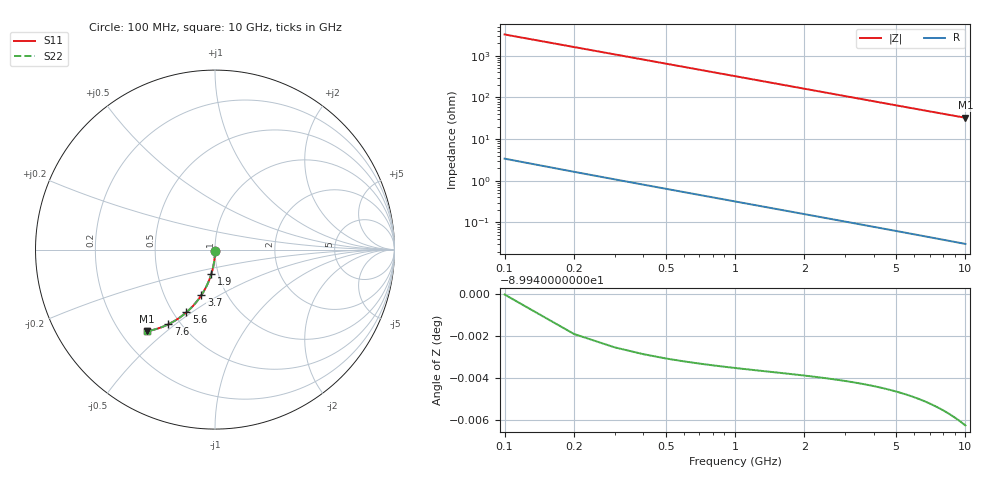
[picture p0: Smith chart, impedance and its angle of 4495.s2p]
# Hz S RI R 50.00
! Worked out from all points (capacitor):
!   100 points, 100 MHz to 10 GHz, reference 50 ohm
!   read as one part in shunt: C = 490 fF near 100 MHz
!   lowest |Z| = 32.6 ohm at 10 GHz (marker M1)
!   S11 on the Smith chart (normalised r, x): 100 MHz: 1.00, -0.01; 1.9 GHz: 0.92, -0.26; 3.7 GHz: 0.76, -0.42; 5.6 GHz: 0.58, -0.48; 7.6 GHz: 0.43, -0.47; 10 GHz: 0.31, -0.43
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1e8  -1.2e-05 -0.00741  0.9999 -0.00799  0.9999 -0.00799  -1.2e-05 -0.00741
2e8  -0.000197 -0.0148  0.9997 -0.016  0.9997 -0.016  -0.000197 -0.0148
3e8  -0.0005 -0.0222  0.9994 -0.0239  0.9994 -0.0239  -0.0005 -0.0222
4e8  -0.000921 -0.0296  0.999 -0.0319  0.999 -0.0319  -0.000921 -0.0296
5e8  -0.00146 -0.037  0.9984 -0.0399  0.9984 -0.0399  -0.00146 -0.037
6e8  -0.00212 -0.0444  0.9978 -0.0478  0.9978 -0.0478  -0.00212 -0.0444
8e8  -0.00378 -0.0591  0.9961 -0.0637  0.9961 -0.0637  -0.00378 -0.0591
1.1e9  -0.00715 -0.081  0.9927 -0.0873  0.9927 -0.0873  -0.00715 -0.081
1.4e9  -0.0115 -0.1026  0.9883 -0.1107  0.9883 -0.1107  -0.0115 -0.1026
1.8e9  -0.019 -0.131  0.9809 -0.1414  0.9809 -0.1414  -0.019 -0.131
1.9e9  -0.0211 -0.1379  0.9787 -0.1489  0.9787 -0.1489  -0.0211 -0.1379
2.2e9  -0.0281 -0.1586  0.9717 -0.1714  0.9717 -0.1714  -0.0281 -0.1586
2.6e9  -0.0388 -0.1854  0.9609 -0.2005  0.9609 -0.2005  -0.0388 -0.1854
3.4e9  -0.0647 -0.236  0.9349 -0.2558  0.9349 -0.2558  -0.0647 -0.236
3.7e9  -0.0758 -0.2537  0.9238 -0.2753  0.9238 -0.2753  -0.0758 -0.2537
4.4e9  -0.1042 -0.2925  0.8953 -0.3182  0.8953 -0.3182  -0.1042 -0.2925
5.1e9  -0.1355 -0.3271  0.864 -0.357  0.864 -0.357  -0.1355 -0.3271
5.6e9  -0.1591 -0.3492  0.8402 -0.3821  0.8402 -0.3821  -0.1591 -0.3492
6.7e9  -0.2139 -0.3901  0.7852 -0.4296  0.7852 -0.4296  -0.2139 -0.3901
7.6e9  -0.2599 -0.4159  0.7389 -0.4609  0.7389 -0.4609  -0.2599 -0.4159
8.4e9  -0.3009 -0.4334  0.6978 -0.4834  0.6978 -0.4834  -0.3009 -0.4334
1e10  -0.3802 -0.4552  0.6178 -0.5151  0.6178 -0.5151  -0.3802 -0.4552
